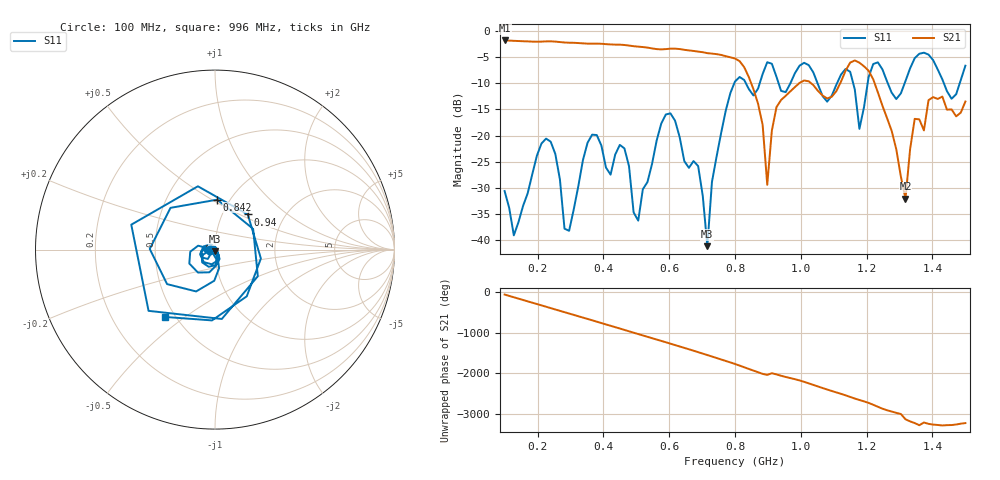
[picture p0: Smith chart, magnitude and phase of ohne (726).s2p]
! NanoVNA-App
! Date: 2025-09-25 14:26:27
! Start: 100MHz Stop: 1,5GHz Points: 101
! S-Parameter data: F S11 S21 S12 S22
# Hz S RI R 50
!  Frequency  S11_Real  S11_Imag  S21_Real  S21_Imag  S12_Real  S12_Imag  S22_Real  S22_Imag
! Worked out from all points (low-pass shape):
!   101 points, 100 MHz to 1.5 GHz, reference 50 ohm
!   highest |S21| = -1.79 dB at 100 MHz (marker M1); lowest = -32.1 dB at 1.318 GHz (marker M2)
!   |S21| within 3 dB of the highest: start of sweep to 771.1 MHz
!   lowest |S11| = -41.2 dB at 716 MHz (marker M3), VSWR 1.02, Z = 49.8 - j0.843 ohm
!   |S11| at or under -10 dB: start of sweep to 797.8 MHz; 833.1 MHz to 875.1 MHz (42.02 MHz wide, 4.92 % of centre); 1.051 GHz to 1.11 GHz (59.16 MHz wide, 5.48 % of centre) (the widest 3 of 7)
!   S12 and S22 are empty: the file has one direction only
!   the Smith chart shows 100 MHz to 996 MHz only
!   S11 on the Smith chart (normalised r, x): 100 MHz: 0.94, -0.01; 842 MHz: 0.88, +0.53; 940 MHz: 1.31, +0.55; 996 MHz: 0.44, -0.42
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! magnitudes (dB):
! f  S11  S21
! 100 MHz  -30.6  -1.8
! 128 MHz  -39.1  -1.9
! 226 MHz  -20.6  -2.0
! 296 MHz  -38.2  -2.2
! 338 MHz  -24.7  -2.4
! 464 MHz  -22.5  -2.7
! 506 MHz  -36.3  -3.0
! 576 MHz  -17.7  -3.5
! 688 MHz  -25.8  -3.9
! 716 MHz  -41.2  -4.2
! 800 MHz  -9.7  -5.3
! 842 MHz  -11.1  -8.8
! 898 MHz  -6.0  -29.4
! 940 MHz  -11.4  -13.2
! 996 MHz  -6.6  -9.9
! 1.038 GHz  -7.9  -10.3
! 1.178 GHz  -18.7  -6.0
! 1.22 GHz  -6.3  -9.2
! 1.276 GHz  -11.8  -19.1
! 1.318 GHz  -9.6  -32.1
! 1.346 GHz  -5.2  -16.8
! 1.5 GHz  -6.6  -13.5
